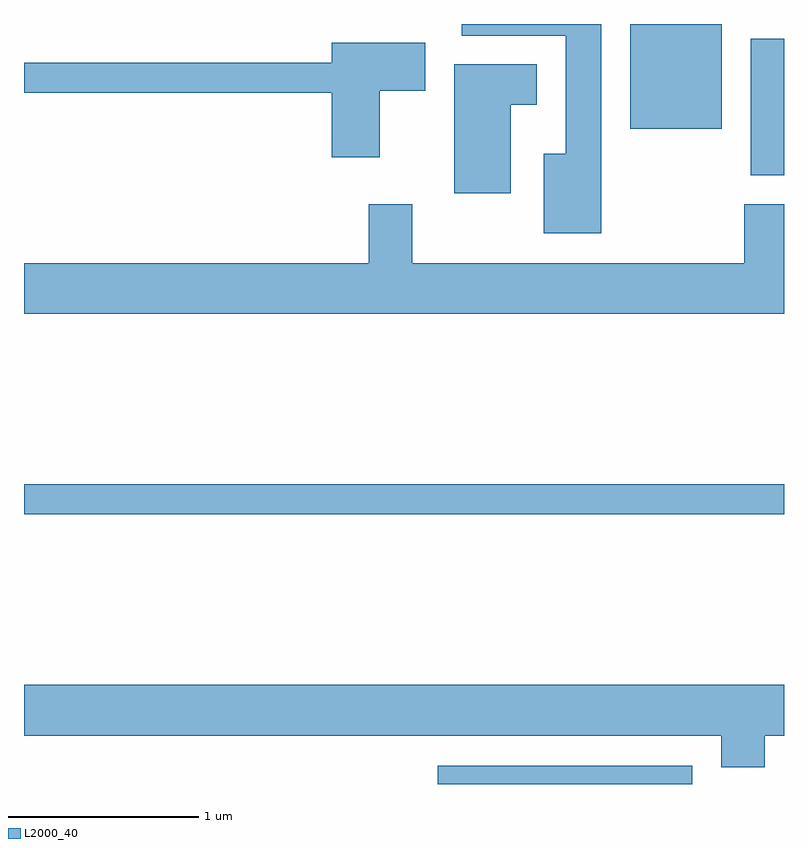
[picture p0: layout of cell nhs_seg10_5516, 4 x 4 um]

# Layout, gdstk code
import gdstk
lib = gdstk.Library(unit=1e-6, precision=1e-09)
def R(c, l, rs):  # rectangles x0, y0, x1, y1
    for r in rs: c.add(gdstk.rectangle(r[:2], r[2:], *l))
def P(c, l, *ps):  # polygons
    for p in ps: c.add(gdstk.Polygon(p, *l))
L2000_40 = (2000, 40)

nhs_seg10_5516 = lib.new_cell('nhs_seg10_5516')
R(nhs_seg10_5516, L2000_40, [(349.788,2142.522,351.129,2142.619), (347.611,2143.941,351.611,2144.099), (351.436,2145.726,351.611,2146.444), (350.801,2145.971,351.284,2146.522)])
P(nhs_seg10_5516, L2000_40, [(350.649,2146.522),(349.916,2146.522),(349.916,2146.461),(350.461,2146.461),(350.461,2145.839),(350.346,2145.839),(350.346,2145.421),(350.649,2145.421)],
  [(349.484,2146.171),(349.724,2146.171),(349.724,2146.424),(349.231,2146.424),(349.231,2146.319),(347.611,2146.319),(347.611,2146.161),(349.231,2146.161),(349.231,2145.821),(349.484,2145.821)],
  [(350.174,2146.096),(350.309,2146.096),(350.309,2146.309),(349.876,2146.309),(349.876,2145.631),(350.174,2145.631)],
  [(351.611,2145.574),(351.401,2145.574),(351.401,2145.264),(349.654,2145.264),(349.654,2145.574),(349.426,2145.574),(349.426,2145.264),(347.611,2145.264),(347.611,2144.996),(351.611,2144.996)],
  [(351.509,2142.776),(351.611,2142.776),(351.611,2143.044),(347.611,2143.044),(347.611,2142.776),(351.281,2142.776),(351.281,2142.611),(351.509,2142.611)])

lib.write_gds('nhs_seg10_5516.gds')
